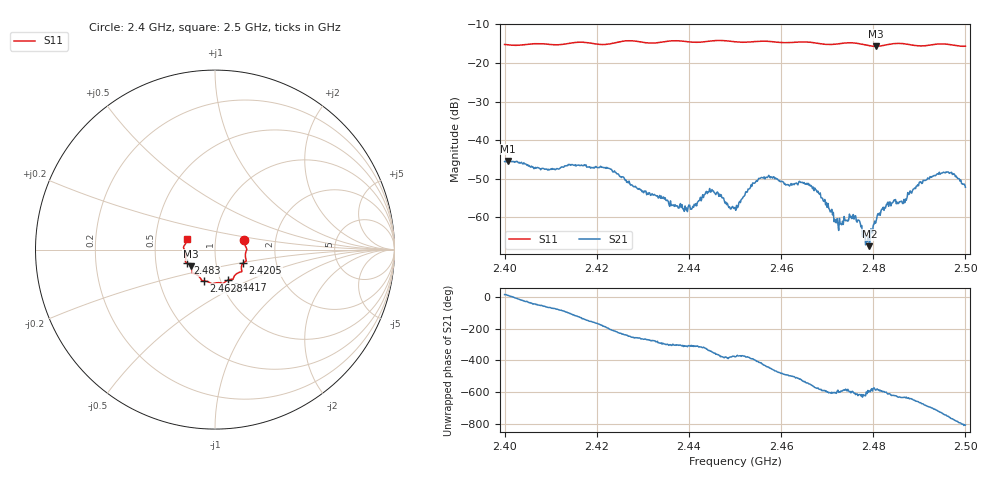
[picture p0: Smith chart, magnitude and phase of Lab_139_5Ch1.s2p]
# Hz S RI R 50
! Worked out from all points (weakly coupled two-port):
!   601 points, 2.4 GHz to 2.5 GHz, reference 50 ohm
!   highest |S21| = -45.37 dB at 2.4007 GHz (marker M1); lowest = -67.4 dB at 2.4792 GHz (marker M2)
!   lowest |S11| = -15.7 dB at 2.4805 GHz (marker M3), VSWR 1.39, Z = 37.5 - j7.1 ohm
!   |S11| at or under -10 dB: start of sweep to end of sweep
!   S12 and S22 are empty: the file has one direction only
!   S11 on the Smith chart (normalised r, x): 2.4 GHz: 1.38, +0.16; 2.4205 GHz: 1.35, -0.21; 2.4417 GHz: 1.09, -0.38; 2.4628 GHz: 0.83, -0.30; 2.483 GHz: 0.73, -0.11; 2.5 GHz: 0.73, +0.09
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2.4e9  0.1636 0.0559  0.00508 0.00147  0 0  0 0
2.400667e9  0.1639 0.0498  0.00529 0.00101  0 0  0 0
2.416667e9  0.1739 -0.0633  -0.0031 -0.00362  0 0  0 0
2.4205e9  0.1555 -0.0767  -0.00435 -0.00071  0 0  0 0
2.433333e9  0.1072 -0.1475  0.000579 0.00169  0 0  0 0
2.439167e9  0.0918 -0.1654  0.000925 0.00107  0 0  0 0
2.441667e9  0.0719 -0.1699  0.000934 0.00106  0 0  0 0
2.444833e9  0.0511 -0.1851  0.00205 0.000669  0 0  0 0
2.45e9  0.0289 -0.1851  0.00128 -0.000422  0 0  0 0
2.4555e9  -0.0126 -0.1901  0.00181 -0.00266  0 0  0 0
2.462833e9  -0.0627 -0.1733  -0.00212 -0.0016  0 0  0 0
2.466667e9  -0.0774 -0.1667  -0.00239 0.000776  0 0  0 0
2.472e9  -0.1105 -0.1356  -0.000312 0.000796  0 0  0 0
2.475667e9  -0.127 -0.1294  -0.000516 0.000962  0 0  0 0
2.479167e9  -0.1289 -0.1051  -0.000253 0.000342  0 0  0 0
2.4805e9  -0.1353 -0.0921  -0.000557 0.000631  0 0  0 0
2.483e9  -0.1543 -0.0752  -0.000558 0.00139  0 0  0 0
2.483333e9  -0.1566 -0.0738  -0.000426 0.00133  0 0  0 0
2.486667e9  -0.1655 -0.0619  0.000122 0.00171  0 0  0 0
2.489833e9  -0.1631 -0.0316  0.00143 0.00214  0 0  0 0
2.494833e9  -0.1754 0.0137  0.00367 -0.000788  0 0  0 0
2.5e9  -0.1539 0.0575  4.47e-05 -0.00246  0 0  0 0
